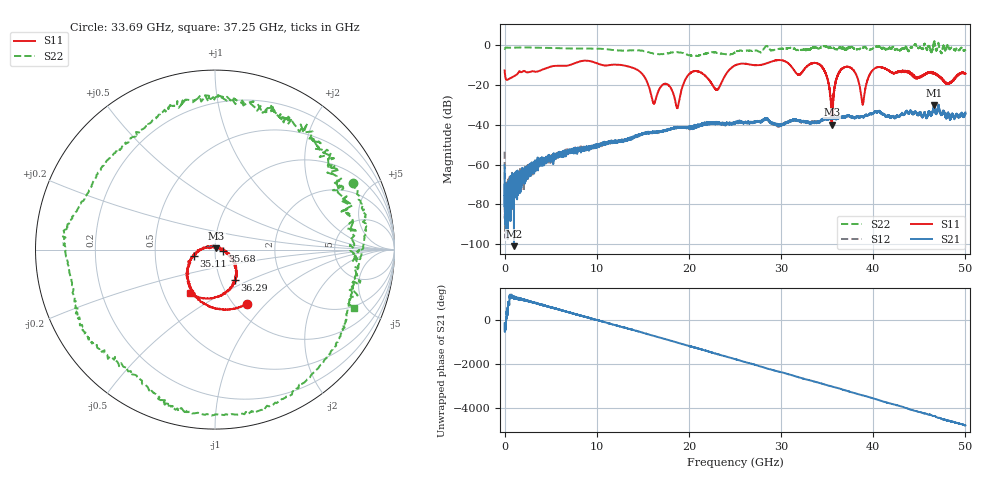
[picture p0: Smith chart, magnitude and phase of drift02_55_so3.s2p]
!Created with skrf (http://scikit-rf.org).
# Hz S RI R 50.0
!freq ReS11 ImS11 ReS21 ImS21 ReS12 ImS12 ReS22 ImS22
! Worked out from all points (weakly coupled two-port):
!   10001 points, 300 kHz to 50 GHz, reference 50 ohm
!   highest |S21| = -30.13 dB at 46.63 GHz (marker M1); lowest = -100.9 dB at 1.015 GHz (marker M2)
!   lowest |S11| = -40.0 dB at 35.53 GHz (marker M3), VSWR 1.02, Z = 50.7 + j0.69 ohm
!   |S11| at or under -10 dB: start of sweep to 7.178 GHz; 12.39 GHz to 25.16 GHz (12.78 GHz wide, 68 % of centre); 34.22 GHz to end of sweep (the widest 3 of 14)
!   |S22| runs from -5.7 to 2.2 dB; largest |S21 - S12| = 0.003
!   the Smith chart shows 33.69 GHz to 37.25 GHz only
!   S11 on the Smith chart (normalised r, x): 33.69 GHz: 1.15, -0.79; 35.11 GHz: 0.79, -0.05; 35.68 GHz: 1.09, -0.02; 36.29 GHz: 1.17, -0.41; 37.25 GHz: 0.68, -0.36
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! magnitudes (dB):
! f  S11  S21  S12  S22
! 300 kHz  -12.9  -60.4  -53.6  -2.1
! 255.3 MHz  -17.6  -76.5  -72.9  -1.4
! 1.015 GHz  -15.8  -100.9  -66.4  -1.4
! 8.335 GHz  -8.2  -52.2  -51.4  -1.9
! 14.05 GHz  -11.8  -46.3  -46.2  -2.8
! 16.67 GHz  -23.4  -43.7  -43.6  -4.7
! 18.74 GHz  -31.8  -41.5  -41.4  -3.7
! 20.25 GHz  -13.9  -41.4  -42.2  -5.4
! 23.04 GHz  -22.6  -39.6  -39.4  -4.1
! 25 GHz  -10.3  -39.3  -39.1  -3.9
! 33.34 GHz  -9.3  -38.8  -38.6  -1.6
! 33.69 GHz  -9.1  -39.1  -38.6  -1.4
! 35.11 GHz  -18.3  -37.1  -37.4  -1.7
! 35.53 GHz  -40.0  -36.9  -36.7  -1.7
! 35.68 GHz  -26.9  -36.7  -36.7  -1.4
! 36.29 GHz  -13.9  -36.7  -36.5  -1.6
! 37.25 GHz  -11.0  -35.6  -35.3  -1.5
! 38.86 GHz  -29.9  -35.9  -35.9  -1.3
! 39.96 GHz  -12.7  -34.2  -34.5  -1.8
! 41.67 GHz  -12.9  -35.4  -35.7  -1.9
! 46.63 GHz  -14.2  -30.1  -30.7  1.8
! 50 GHz  -14.5  -34.0  -34.3  -2.6
